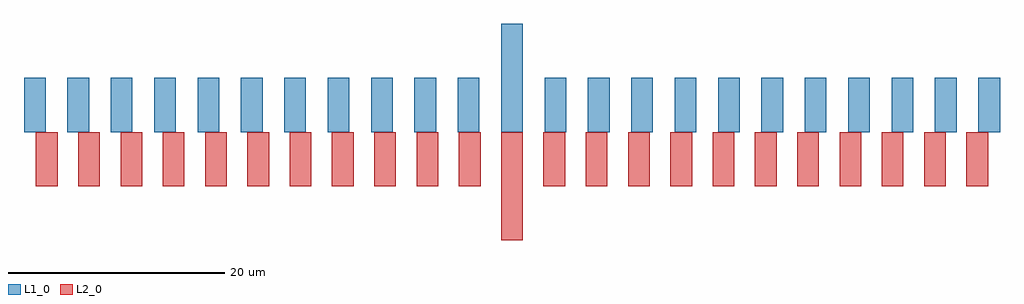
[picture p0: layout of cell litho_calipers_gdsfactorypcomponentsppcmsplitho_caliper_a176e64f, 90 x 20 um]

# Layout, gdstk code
import gdstk
lib = gdstk.Library(unit=1e-6, precision=1e-09)
def R(c, l, rs):  # rectangles x0, y0, x1, y1
    for r in rs: c.add(gdstk.rectangle(r[:2], r[2:], *l))
L1_0 = (1, 0)
L2_0 = (2, 0)

rectangle_gdsfactorypcom = lib.new_cell('rectangle_gdsfactorypcomponentspshapesprectangle_S2_5_L_5c01a10c')
R(rectangle_gdsfactorypcom, L1_0, [(0,0,2,5)])

c_rectangle_gdsfactorypcom = lib.new_cell('rectangle_gdsfactorypcomponentspshapesprectangle_S2_5_L_21fd3779')
R(c_rectangle_gdsfactorypcom, L2_0, [(0,0,2,5)])

litho_calipers_gdsfactor = lib.new_cell('litho_calipers_gdsfactorypcomponentsppcmsplitho_caliper_a176e64f')
litho_calipers_gdsfactor.add(gdstk.Reference(rectangle_gdsfactorypcom, (0,0)))
litho_calipers_gdsfactor.add(gdstk.Reference(c_rectangle_gdsfactorypcom, (1.1,-5)))
litho_calipers_gdsfactor.add(gdstk.Reference(rectangle_gdsfactorypcom, (4,0)))
litho_calipers_gdsfactor.add(gdstk.Reference(c_rectangle_gdsfactorypcom, (5,-5)))
litho_calipers_gdsfactor.add(gdstk.Reference(rectangle_gdsfactorypcom, (8,0)))
litho_calipers_gdsfactor.add(gdstk.Reference(c_rectangle_gdsfactorypcom, (8.9,-5)))
litho_calipers_gdsfactor.add(gdstk.Reference(rectangle_gdsfactorypcom, (12,0)))
litho_calipers_gdsfactor.add(gdstk.Reference(c_rectangle_gdsfactorypcom, (12.8,-5)))
litho_calipers_gdsfactor.add(gdstk.Reference(rectangle_gdsfactorypcom, (16,0)))
litho_calipers_gdsfactor.add(gdstk.Reference(c_rectangle_gdsfactorypcom, (16.7,-5)))
litho_calipers_gdsfactor.add(gdstk.Reference(rectangle_gdsfactorypcom, (20,0)))
litho_calipers_gdsfactor.add(gdstk.Reference(c_rectangle_gdsfactorypcom, (20.6,-5)))
litho_calipers_gdsfactor.add(gdstk.Reference(rectangle_gdsfactorypcom, (24,0)))
litho_calipers_gdsfactor.add(gdstk.Reference(c_rectangle_gdsfactorypcom, (24.5,-5)))
litho_calipers_gdsfactor.add(gdstk.Reference(rectangle_gdsfactorypcom, (28,0)))
litho_calipers_gdsfactor.add(gdstk.Reference(c_rectangle_gdsfactorypcom, (28.4,-5)))
litho_calipers_gdsfactor.add(gdstk.Reference(rectangle_gdsfactorypcom, (32,0)))
litho_calipers_gdsfactor.add(gdstk.Reference(c_rectangle_gdsfactorypcom, (32.3,-5)))
litho_calipers_gdsfactor.add(gdstk.Reference(rectangle_gdsfactorypcom, (36,0)))
litho_calipers_gdsfactor.add(gdstk.Reference(c_rectangle_gdsfactorypcom, (36.2,-5)))
litho_calipers_gdsfactor.add(gdstk.Reference(rectangle_gdsfactorypcom, (40,0)))
litho_calipers_gdsfactor.add(gdstk.Reference(c_rectangle_gdsfactorypcom, (40.1,-5)))
litho_calipers_gdsfactor.add(gdstk.Reference(rectangle_gdsfactorypcom, (44,5)))
litho_calipers_gdsfactor.add(gdstk.Reference(c_rectangle_gdsfactorypcom, (44,-10)))
litho_calipers_gdsfactor.add(gdstk.Reference(rectangle_gdsfactorypcom, (44,0)))
litho_calipers_gdsfactor.add(gdstk.Reference(c_rectangle_gdsfactorypcom, (44,-5)))
litho_calipers_gdsfactor.add(gdstk.Reference(rectangle_gdsfactorypcom, (48,0)))
litho_calipers_gdsfactor.add(gdstk.Reference(c_rectangle_gdsfactorypcom, (47.9,-5)))
litho_calipers_gdsfactor.add(gdstk.Reference(rectangle_gdsfactorypcom, (52,0)))
litho_calipers_gdsfactor.add(gdstk.Reference(c_rectangle_gdsfactorypcom, (51.8,-5)))
litho_calipers_gdsfactor.add(gdstk.Reference(rectangle_gdsfactorypcom, (56,0)))
litho_calipers_gdsfactor.add(gdstk.Reference(c_rectangle_gdsfactorypcom, (55.7,-5)))
litho_calipers_gdsfactor.add(gdstk.Reference(rectangle_gdsfactorypcom, (60,0)))
litho_calipers_gdsfactor.add(gdstk.Reference(c_rectangle_gdsfactorypcom, (59.6,-5)))
litho_calipers_gdsfactor.add(gdstk.Reference(rectangle_gdsfactorypcom, (64,0)))
litho_calipers_gdsfactor.add(gdstk.Reference(c_rectangle_gdsfactorypcom, (63.5,-5)))
litho_calipers_gdsfactor.add(gdstk.Reference(rectangle_gdsfactorypcom, (68,0)))
litho_calipers_gdsfactor.add(gdstk.Reference(c_rectangle_gdsfactorypcom, (67.4,-5)))
litho_calipers_gdsfactor.add(gdstk.Reference(rectangle_gdsfactorypcom, (72,0)))
litho_calipers_gdsfactor.add(gdstk.Reference(c_rectangle_gdsfactorypcom, (71.3,-5)))
litho_calipers_gdsfactor.add(gdstk.Reference(rectangle_gdsfactorypcom, (76,0)))
litho_calipers_gdsfactor.add(gdstk.Reference(c_rectangle_gdsfactorypcom, (75.2,-5)))
litho_calipers_gdsfactor.add(gdstk.Reference(rectangle_gdsfactorypcom, (80,0)))
litho_calipers_gdsfactor.add(gdstk.Reference(c_rectangle_gdsfactorypcom, (79.1,-5)))
litho_calipers_gdsfactor.add(gdstk.Reference(rectangle_gdsfactorypcom, (84,0)))
litho_calipers_gdsfactor.add(gdstk.Reference(c_rectangle_gdsfactorypcom, (83,-5)))
litho_calipers_gdsfactor.add(gdstk.Reference(rectangle_gdsfactorypcom, (88,0)))
litho_calipers_gdsfactor.add(gdstk.Reference(c_rectangle_gdsfactorypcom, (86.9,-5)))

lib.write_gds('litho_calipers_gdsfactorypcomponentsppcmsplitho_caliper_a176e64f.gds')
